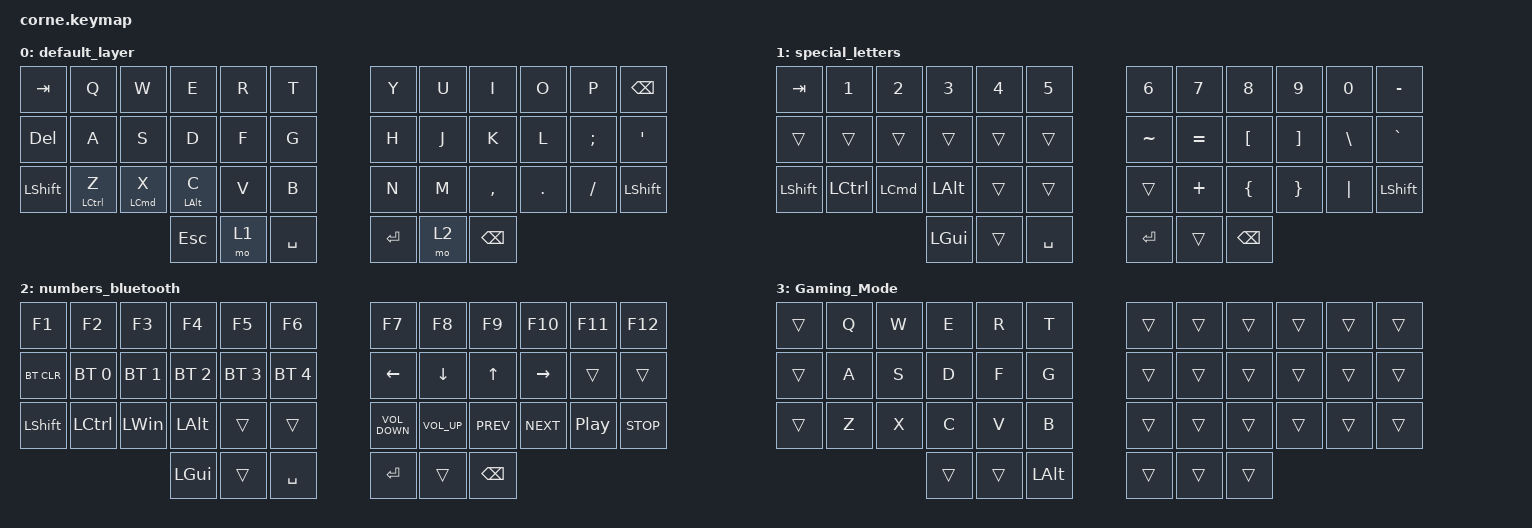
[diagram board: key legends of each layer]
/*
 * Copyright (c) 2020 The ZMK Contributors
 *
 * SPDX-License-Identifier: MIT
 */

#include <behaviors.dtsi>
#include <dt-bindings/zmk/keys.h>
#include <dt-bindings/zmk/bt.h>

#define numbers_bluetooth 1
#define special_letters 2

/ {
    combos {
        compatible = "zmk,combos";
    };

    macros {
    };

    keymap {
        compatible = "zmk,keymap";

        default_layer {
            // -----------------------------------------------------------------------------------------
            // |  TAB |  Q  |  W  |  E  |  R  |  T  |   |  Y  |  U   |  I  |  O  |  P  | BKSP |
            // | CTRL |  A  |  S  |  D  |  F  |  G  |   |  H  |  J   |  K  |  L  |  ;  |  '   |
            // | SHFT |  Z  |  X  |  C  |  V  |  B  |   |  N  |  M   |  ,  |  .  |  /  | ESC  |
            //                    | GUI | LWR | SPC |   | ENT | RSE  | ALT |

            bindings = <
  &kp TAB               &kp Q               &kp W           &kp E  &kp R      &kp T    &kp Y  &kp U          &kp I    &kp O          &kp P        &kp BSPC
  &kp DEL               &kp A               &kp S           &kp D  &kp F      &kp G    &kp H  &kp J          &kp K    &kp L  &kp SEMICOLON         &kp SQT
&kp LSHFT  &mt LEFT_CONTROL Z  &mt LEFT_COMMAND X  &mt LEFT_ALT C  &kp V      &kp B    &kp N  &kp M      &kp COMMA  &kp DOT       &kp FSLH  &kp LEFT_SHIFT
                                                          &kp ESC  &mo 1  &kp SPACE  &kp RET  &mo 2  &kp BACKSPACE
            >;
        };

        special_letters {
            // -----------------------------------------------------------------------------------------
            // |  TAB |  !  |  @  |  #  |  $  |  %  |   |  ^  |  &  |  *  |  (  |  )  | BKSP |
            // | CTRL |     |     |     |     |     |   |  -  |  =  |  [  |  ]  |  \  |  `   |
            // | SHFT |     |     |     |     |     |   |  _  |  +  |  {  |  }  | "|" |  ~   |
            //                    | GUI |     | SPC |   | ENT |     | ALT |

            bindings = <
       &kp TAB      &kp NUMBER_1      &kp NUMBER_2  &kp NUMBER_3  &kp NUMBER_4  &kp NUMBER_5  &kp NUMBER_6  &kp NUMBER_7   &kp NUMBER_8  &kp NUMBER_9  &kp NUMBER_0       &kp MINUS
        &trans            &trans            &trans        &trans        &trans        &trans     &kp TILDE     &kp EQUAL       &kp LBKT      &kp RBKT      &kp BSLH       &kp GRAVE
&kp LEFT_SHIFT  &kp LEFT_CONTROL  &kp LEFT_COMMAND  &kp LEFT_ALT        &trans        &trans        &trans      &kp PLUS       &kp LBRC      &kp RBRC      &kp PIPE  &kp LEFT_SHIFT
                                                        &kp LGUI        &trans     &kp SPACE       &kp RET        &trans  &kp BACKSPACE
            >;
        };

        numbers_bluetooth {
            // -----------------------------------------------------------------------------------------
            // |  TAB |  1  |  2  |  3  |  4  |  5  |   |  6  |  7  |  8  |  9  |  0  | BKSP |
            // | BTCLR| BT1 | BT2 | BT3 | BT4 | BT5 |   | LFT | DWN |  UP | RGT |     |      |
            // | SHFT |     |     |     |     |     |   |     |     |     |     |     |      |
            //                    | GUI |     | SPC |   | ENT |     | ALT |

            bindings = <
    &kp F1            &kp F2        &kp F3        &kp F4        &kp F5        &kp F6             &kp F7           &kp F8         &kp F9     &kp F10           &kp F11     &kp F12
&bt BT_CLR      &bt BT_SEL 0  &bt BT_SEL 1  &bt BT_SEL 2  &bt BT_SEL 3  &bt BT_SEL 4           &kp LEFT         &kp DOWN         &kp UP   &kp RIGHT            &trans      &trans
 &kp LSHFT  &kp LEFT_CONTROL  &kp LEFT_WIN  &kp LEFT_ALT        &trans        &trans  &kp C_VOLUME_DOWN  &kp C_VOLUME_UP     &kp C_PREV  &kp C_NEXT  &kp C_PLAY_PAUSE  &kp C_STOP
                                                &kp LGUI        &trans     &kp SPACE            &kp RET           &trans  &kp BACKSPACE
            >;
        };

        Gaming_Mode {
            bindings = <
&trans  &kp Q  &kp W   &kp E   &kp R         &kp T  &trans  &trans  &trans  &trans  &trans  &trans
&trans  &kp A  &kp S   &kp D   &kp F         &kp G  &trans  &trans  &trans  &trans  &trans  &trans
&trans  &kp Z  &kp X   &kp C   &kp V         &kp B  &trans  &trans  &trans  &trans  &trans  &trans
                      &trans  &trans  &kp LEFT_ALT  &trans  &trans  &trans
            >;
        };
    };
};
